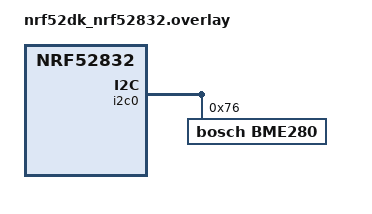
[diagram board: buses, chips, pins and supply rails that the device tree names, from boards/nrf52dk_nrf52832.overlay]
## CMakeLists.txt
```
# SPDX-License-Identifier: Apache-2.0

cmake_minimum_required(VERSION 3.20)
find_package(Zephyr REQUIRED HINTS $ENV{ZEPHYR_BASE})
project(nrf52_dk_eo)

FILE(GLOB app_sources src/*.c)

target_sources(app PRIVATE ${app_sources})
```

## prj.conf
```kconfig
CONFIG_BT=y
CONFIG_BT_PERIPHERAL=y
CONFIG_BT_ZEPHYR_NUS=y
CONFIG_BT_DEVICE_NAME="EmbedOps sensor"
CONFIG_BT_DEVICE_APPEARANCE=1344


CONFIG_I2C=y
CONFIG_SENSOR=y
CONFIG_BME280=y
```

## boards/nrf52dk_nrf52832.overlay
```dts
&pinctrl {
        i2c0_default: i2c0_default {
                group1 {
                        psels = <NRF_PSEL(TWIM_SDA, 0, 31)>,
                                <NRF_PSEL(TWIM_SCL, 0, 29)>;
                };
        };

        i2c0_sleep: i2c0_sleep {
                group1 {
                        psels = <NRF_PSEL(TWIM_SDA, 0, 31)>,
                                <NRF_PSEL(TWIM_SCL, 0, 29)>;
                        low-power-enable;
                };
        };
};

&i2c0 {
    status = "okay";
    bme280@76 {
        compatible = "bosch,bme280";
        reg = <0x76>;
    };
};
```

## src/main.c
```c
#include "ble.h"
#include "bme280.h"

#include <stdbool.h>
#include <stdio.h>

#include <zephyr/drivers/gpio.h>
#include <zephyr/kernel.h>

#include <zephyr/logging/log.h>
LOG_MODULE_REGISTER(nrf52dk_eo);

#define SLEEP_TIME_MS 1000

#define LED0_NODE DT_ALIAS(led0)

static const struct gpio_dt_spec led = GPIO_DT_SPEC_GET(LED0_NODE, gpios);

static int led_initialize(void) {
  int ret;

  if (!gpio_is_ready_dt(&led)) {
    return -1;
  }

  ret = gpio_pin_configure_dt(&led, GPIO_OUTPUT_ACTIVE);
  if (ret != 0) {
    return -1;
  }

  return 0;
}

static void led_toggle(void) {
  int ret;

  ret = gpio_pin_toggle_dt(&led);
  if (ret < 0) {
    LOG_ERR("failed to toggle led %d", ret);
  }
}

static void led_status(int err) {
  int i;

  if (err) {
    for (i = 0; i < 3; ++i) { // three blinks for an err
      led_toggle();
      k_msleep(SLEEP_TIME_MS);
    }
  }
}

int main(void) {
  int ret;

  ret = led_initialize();
  if (ret < 0) {
    LOG_ERR("failed to initialize led");
    return 0;
  }

  ret = bme280_initialize_device();
  if (ret < 0) {
    LOG_ERR("bme280 failed to initialize");
    return 0;
  }

  ret = ble_initialize();
  if (ret < 0) {
    LOG_ERR("ble failed to initialize");
    return 0;
  }

  while (1) {
    led_status(ret);
    ret = ble_update_indication();
    k_msleep(SLEEP_TIME_MS);
  }

  return 0;
}
```

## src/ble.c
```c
#include "ble.h"
#include "bme280.h"

#include <zephyr/bluetooth/bluetooth.h>
#include <zephyr/bluetooth/conn.h>
#include <zephyr/bluetooth/gatt.h>
#include <zephyr/bluetooth/hci.h>
#include <zephyr/bluetooth/services/nus.h>
#include <zephyr/bluetooth/uuid.h>

#include <zephyr/logging/log.h>
LOG_MODULE_REGISTER(nrf52dk_eo_ble);

#define DEVICE_NAME CONFIG_BT_DEVICE_NAME
#define DEVICE_NAME_LEN (sizeof(DEVICE_NAME) - 1)

// BLE service e177af9e-e1f0-4f65-8206-29507e994416
#define BT_UUID_CUSTOM_SERVICE_VAL                                             \
  BT_UUID_128_ENCODE(0xe177af9e, 0xe1f0, 0x4f65, 0x8206, 0x29507e994416)

static struct bt_uuid_128 service_uuid =
    BT_UUID_INIT_128(BT_UUID_CUSTOM_SERVICE_VAL);

// BLE characteristic e177af9e-e1f0-4f65-8206-29507e994417
static struct bt_uuid_128 characteristic_uuid = BT_UUID_INIT_128(
    BT_UUID_128_ENCODE(0xe177af9e, 0xe1f0, 0x4f65, 0x8206, 0x29507e994417));

// temperature, pressure, humidity
static uint8_t sensor_values[6] = {0, 0, 0, 0, 0, 0};
static uint8_t indicate;
static uint8_t indicating;
static struct bt_gatt_indicate_params indicate_params;

static void ccc_cfg_changed(const struct bt_gatt_attr *attr, uint16_t value) {
  ARG_UNUSED(attr);

  indicate = 0U;
  switch (value) {
  case BT_GATT_CCC_NOTIFY:
    LOG_DBG("CMD RX/TX CCCD subscribed");
    break;
  case BT_GATT_CCC_INDICATE:
    indicate = 1U;
    break;
  case 0:
    LOG_DBG("CMD RX/TX CCCD unsubscribed");
    break;

  default:
    LOG_DBG("failed CCCD has invalid value");
  }
}

static bool sensor_values_updated(void) {
  uint8_t current_buffer[6];
  int16_t temp;
  uint16_t humid, press;

  temp = bme280_get_temperature();
  press = bme280_get_pressure();
  humid = bme280_get_humidity();

  current_buffer[0] = temp & 0xFF;
  current_buffer[1] = temp >> 8;
  current_buffer[2] = press & 0xFF;
  current_buffer[3] = press >> 8;
  current_buffer[4] = humid & 0xFF;
  current_buffer[5] = humid >> 8;

  if (memcmp(sensor_values, current_buffer, sizeof(current_buffer)) != 0) {
    memcpy(sensor_values, current_buffer, sizeof(current_buffer));
    return true;
  }

  return false;
}

static ssize_t read_characteristic(struct bt_conn *conn,
                                   const struct bt_gatt_attr *attr, void *buf,
                                   uint16_t len, uint16_t offset) {
  if (sensor_values_updated()) {
    // we should do something ?
  }
  const char *value = attr->user_data;

  return bt_gatt_attr_read(conn, attr, buf, len, offset, value,
                           sizeof(sensor_values));
}

// primary service def.
BT_GATT_SERVICE_DEFINE(
    service, BT_GATT_PRIMARY_SERVICE(&service_uuid),
    BT_GATT_CHARACTERISTIC(&characteristic_uuid.uuid,
                           BT_GATT_CHRC_READ | BT_GATT_CHRC_INDICATE,
                           BT_GATT_PERM_READ, read_characteristic, NULL,
                           sensor_values),
    BT_GATT_CCC(ccc_cfg_changed, BT_GATT_PERM_READ | BT_GATT_PERM_WRITE), );

// advertising data
static const struct bt_data advert_data[] = {
    BT_DATA_BYTES(BT_DATA_FLAGS, (BT_LE_AD_GENERAL | BT_LE_AD_NO_BREDR)),
    BT_DATA_BYTES(BT_DATA_UUID128_ALL, BT_UUID_CUSTOM_SERVICE_VAL),
};

static const struct bt_data scan_data[] = {
    BT_DATA(BT_DATA_NAME_COMPLETE, CONFIG_BT_DEVICE_NAME,
            sizeof(CONFIG_BT_DEVICE_NAME) - 1),
};

static void bt_ready(int err) {
  int ret;

  if (err) {
    LOG_ERR("ble not initialized %d", err);
    return;
  }

  LOG_INF("ble initialized");
  ret = bt_le_adv_start(BT_LE_ADV_CONN_FAST_1, advert_data,
                        ARRAY_SIZE(advert_data), scan_data,
                        ARRAY_SIZE(scan_data));
  if (ret != 0) {
    LOG_ERR("advertising failed to start %d", ret);
    return;
  }

  LOG_INF("advertising started");
}

static void indicate_cb(struct bt_conn *conn,
                        struct bt_gatt_indicate_params *params, uint8_t err) {
  LOG_INF("indication %s", err != 0U ? "failed" : "success");
}

static void indicate_destroy(struct bt_gatt_indicate_params *params) {
  LOG_INF("indication complete");
  indicating = 0U;
}

static void connected(struct bt_conn *conn, uint8_t err) {
  char addr[BT_ADDR_LE_STR_LEN];

  bt_addr_le_to_str(bt_conn_get_dst(conn), addr, sizeof(addr));
  if (err) {
    LOG_ERR("failed to connect to %s, err 0x%02x %s", addr, err,
            bt_hci_err_to_str(err));
    return;
  }

  LOG_INF("connected to %s", addr);
}

static void disconnected(struct bt_conn *conn, uint8_t reason) {
  char addr[BT_ADDR_LE_STR_LEN];

  bt_addr_le_to_str(bt_conn_get_dst(conn), addr, sizeof(addr));

  LOG_INF("disconnected from %s, reason 0x%02x %s", addr, reason,
          bt_hci_err_to_str(reason));
}

BT_CONN_CB_DEFINE(conn_callbacks) = {
    .connected = connected,
    .disconnected = disconnected,
};

static void nus_notif_enabled(bool enabled, void *ctx) {
  ARG_UNUSED(ctx);

  LOG_INF("nus notification - %s", (enabled ? "enabled" : "disabled"));
}

static void nus_received(struct bt_conn *conn, const void *data, uint16_t len,
                         void *ctx) {
  ARG_UNUSED(ctx);

  int ret;

  LOG_INF("nus received - Len: %d, Message: %s", len, (char *)data);

  ret = bt_nus_send(conn, (char *)data, len);
  if (ret) {
    LOG_ERR("failed to send NUS %d", ret);
  }
}

struct bt_nus_cb nus_listener = {
    .notif_enabled = nus_notif_enabled,
    .received = nus_received,
};

int ble_update_indication(void) {
  int ret;

  ret = 0;
  if (sensor_values_updated() && indicate == 0) {
    indicate_params.attr = &service.attrs[2];
    indicate_params.func = indicate_cb;
    indicate_params.destroy = indicate_destroy;
    indicate_params.data = sensor_values;
    indicate_params.len = sizeof(sensor_values);

    ret = bt_gatt_indicate(NULL, &indicate_params);
    if (ret != 0) {
      LOG_ERR("indicate failed %d", ret);
    }
  }
  return ret;
}

int ble_initialize(void) {
  int ret;

  ret = bt_nus_cb_register(&nus_listener, NULL);
  if (ret) {
    LOG_ERR("failed to register NUS callback: %d", ret);
    return -1;
  }

  ret = bt_enable(bt_ready);
  if (ret != 0) {
    LOG_ERR("ble initialization failure %d", ret);
    return -1;
  }

  return 0;
}
```

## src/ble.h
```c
#ifndef _BLE_H_
#define _BLE_H_

int ble_initialize(void);
int ble_update_indication(void);

#endif
```

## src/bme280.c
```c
#include "bme280.h"

#include <zephyr/device.h>
#include <zephyr/devicetree.h>
#include <zephyr/drivers/sensor.h>
#include <zephyr/sys/printk.h>
#include <zephyr/types.h>

#include <zephyr/logging/log.h>
LOG_MODULE_REGISTER(nrf52dk_eo_bme280);

const struct device *bme280_dev = DEVICE_DT_GET_ANY(bosch_bme280);

int bme280_initialize_device(void) {
  if (!bme280_dev) {
    LOG_ERR("device node not found.");
    return -1;
  }

  if (!device_is_ready(bme280_dev)) {
    LOG_ERR("device is not ready");
    return -1;
  }

  LOG_INF("device is initialized");
  return 0;
}

int16_t bme280_get_temperature(void) {
  struct sensor_value temp;

  if (!sensor_channel_get(bme280_dev, SENSOR_CHAN_AMBIENT_TEMP, &temp)) {
    LOG_ERR("failed to get sensor temperature value");
    return -1;
  }
  return (int16_t)(temp.val1 * 100 + temp.val2 / 10000);
}

uint16_t bme280_get_pressure(void) {
  uint32_t pressure_off;
  struct sensor_value pressure;

  if (!sensor_channel_get(bme280_dev, SENSOR_CHAN_PRESS, &pressure)) {
    LOG_ERR("failed to get sensor pressure value");
    return -1;
  }

  pressure_off = (uint32_t)(pressure.val1 * 1000 + pressure.val2 / 10000);
  return (uint16_t)(pressure_off - 50000);
}

uint16_t bme280_get_humidity() {
  struct sensor_value humid;

  if (!sensor_channel_get(bme280_dev, SENSOR_CHAN_HUMIDITY, &humid)) {
    LOG_ERR("failed to get sensor humidity value");
    return -1;
  }

  return (uint16_t)(humid.val1 * 100 + humid.val2 / 10000);
}
```

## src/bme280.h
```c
#ifndef _BME280_H_
#define _BME280_H_

#include <stdint.h>

int bme280_initialize_device(void);
int16_t bme280_get_temperature(void);
uint16_t bme280_get_pressure(void);
uint16_t bme280_get_humidity(void);

#endif
```

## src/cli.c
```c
#include <zephyr/shell/shell.h>
#include "util.h"

#define UPTIME_STRING_LEN 64

static int cmd_hil_ping(const struct shell *sh, size_t argc,
                         char **argv)
{
    ARG_UNUSED(argc);
    ARG_UNUSED(argv);

    shell_print(sh, "pong");
    return 0;
}

static int cmd_hil_uptime(const struct shell *sh, size_t argc,
                           char **argv)
{
    char uptime_str[UPTIME_STRING_LEN];

    int64_t uptime = k_uptime_get();
    uptime_to_string(uptime, uptime_str);

    shell_print(sh, "%s", uptime_str);
    return 0;
}

static int cmd_hil_uptime_ms(const struct shell *sh, size_t argc,
                           char **argv)
{
    int64_t uptime = k_uptime_get();

    shell_print(sh, "%lld\n", uptime);
    return 0;
}

/* Creating subcommands (level 1 command) array for command "hil". */
SHELL_STATIC_SUBCMD_SET_CREATE(sub_hil,
        SHELL_CMD(ping,   NULL, "Ping command.", cmd_hil_ping),
        SHELL_CMD(uptime,   NULL, "Uptime command.", cmd_hil_uptime),
        SHELL_CMD(uptime-ms,   NULL, "Uptime MS command.", cmd_hil_uptime_ms),
        SHELL_SUBCMD_SET_END
);

/* Creating root (level 0) command "hil" without a handler */
SHELL_CMD_REGISTER(hil, &sub_hil, "HIL commands", NULL);
```

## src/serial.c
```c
/** ble.c - BLE routines
 * Copyright 2023 Dojo Five
 **/

#include <inttypes.h>
#include <zephyr/types.h>
#include <stddef.h>
#include <string.h>
#include <errno.h>
#include <zephyr/device.h>
#include <zephyr/drivers/uart.h>
#include <zephyr/sys/ring_buffer.h>
#include <zephyr/kernel.h>
#include <zephyr/logging/log.h>

#include "ble.h"

#define LOG_MODULE_NAME EO_HIL_SERIAL
LOG_MODULE_REGISTER(LOG_MODULE_NAME);

#define RING_BUF_SIZE 1024
uint8_t ring_buffer[RING_BUF_SIZE];

struct ring_buf ringbuf;

/* change this to any other UART peripheral if desired */
#define UART_DEVICE_NODE DT_CHOSEN(zephyr_shell_uart)

#define MSG_SIZE 32

/* queue to store up to 10 messages (aligned to 4-byte boundary) */
K_MSGQ_DEFINE(uart_msgq, MSG_SIZE, 10, 4);

static const struct device *uart_dev = DEVICE_DT_GET(UART_DEVICE_NODE);

/* receive buffer used in UART ISR callback */
static char rx_buf[1024];
static int rx_buf_pos;
/*
 * Read characters from UART until line end is detected. Afterwards push the
 * data to the message queue.
 */
void serial_cb(const struct device *dev, void *user_data)
{
    uint8_t data[256];
    uint32_t bytes_read;

    if (!uart_irq_update(uart_dev)) {
        return;
    }

    while (uart_irq_rx_ready(uart_dev)) {

        bytes_read = uart_fifo_read(uart_dev, data, 256);

        for(uint32_t i = 0; i < bytes_read; i++)
        {
            uint8_t c = data[i];

            if ((c == '\n' || c == '\r') && rx_buf_pos > 0) {
            /* terminate string */
            rx_buf[rx_buf_pos] = '\0';

            LOG_INF("%s\n", rx_buf);

            /* if queue is full, message is silently dropped */
            k_msgq_put(&uart_msgq, &rx_buf, K_NO_WAIT);

            /* reset the buffer (it was copied to the msgq) */
            rx_buf_pos = 0;
            } else if (rx_buf_pos < (sizeof(rx_buf) - 1)) {
                rx_buf[rx_buf_pos++] = c;
            }
            /* else: characters beyond buffer size are dropped */
        }
    }
}

/*
 * Print a null-terminated string character by character to the UART interface
 */
void print_uart(char *buf)
{
    int msg_len = strlen(buf);

    for (int i = 0; i < msg_len; i++) {
        uart_poll_out(uart_dev, buf[i]);
    }
}

void serial_echo_thread(void)
{
    char tx_buf[MSG_SIZE];

    if (!device_is_ready(uart_dev)) {
        LOG_ERR("UART device not found!");
        return;
    }

    /* configure interrupt and callback to receive data */
    uart_irq_callback_user_data_set(uart_dev, serial_cb, NULL);
    uart_irq_rx_enable(uart_dev);

    /* indefinitely wait for input from the user */
    while (k_msgq_get(&uart_msgq, &tx_buf, K_FOREVER) == 0) {

        if(strcmp("mac_address", tx_buf) == 0)
        {
            LOG_INF("Received MAC address command!");

            uint8_t addr[BLE_ADDR_LEN];
            ble_get_address(addr);

            char device_id_string[30] = {0};

            sprintf(device_id_string, "%02X:%02X:%02X:%02X:%02X:%02X\r\n", addr[5], addr[4], addr[3], addr[2], addr[1], addr[0]);
            print_uart(device_id_string);
        }
        else
        {
            print_uart(tx_buf);
            print_uart("\r\n");
        }
    }
}
```

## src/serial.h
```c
#ifndef SERIAL_H
#define SERIAL_H


/**
 * @brief Implementation for a thread that constantly for received UART data and
 * echoes it back.
 */
void serial_echo_thread(void);


#endif
```

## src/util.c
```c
#include <stdio.h>
#include "util.h"

#define MS_PER_SEC   1000
#define SEC_PER_MIN  60
#define MIN_PER_HOUR 60
#define HOUR_PER_DAY 24

#define MS_PER_DAY  (HOUR_PER_DAY * MIN_PER_HOUR * SEC_PER_MIN * MS_PER_SEC)
#define MS_PER_HOUR (MIN_PER_HOUR * SEC_PER_MIN * MS_PER_SEC)
#define MS_PER_MIN  (SEC_PER_MIN * MS_PER_SEC)

void uptime_to_string(int64_t uptime, char *out)
{
    int32_t days = uptime / MS_PER_DAY;
    int32_t hours = (uptime - (days * MS_PER_DAY)) / MS_PER_HOUR;
    int32_t mins  = (uptime - (days * MS_PER_DAY) - (hours * MS_PER_HOUR)) / MS_PER_MIN;
    int32_t secs  = (uptime - (days * MS_PER_DAY) - (hours * MS_PER_HOUR) - (mins * MS_PER_MIN)) / MS_PER_SEC;

    sprintf(out, "%d days, %d hours, %d minutes, %d seconds", days, hours, mins, secs);
}

/**
 * [  0 >= RSSI > -55] -> Great
 * [-55 >= RSSI > -75] -> Good
 * [-75 >= RSSI > -90] -> Poor
 * [-90 >= RSSI      ] -> Unusable
 */
#define RSSI_GREAT_THRESHOLD    -55
#define RSSI_GOOD_THRESHOLD     -75
#define RSSI_POOR_THRESHOLD     -90

util_ble_signal_quality_t util_get_ble_signal_quality(int16_t rssi)
{
    util_ble_signal_quality_t signal_quality = UTIL_BLE_SIGNAL_QUALITY_UNKNOWN;

    if (rssi >= 0)
    {
        // RSSI should always be negative
        signal_quality = UTIL_BLE_SIGNAL_QUALITY_UNKNOWN;
    }
    else if(rssi <= RSSI_POOR_THRESHOLD)
    {
        signal_quality = UTIL_BLE_SIGNAL_QUALITY_UNUSABLE;
    }
    else if (rssi <= RSSI_GOOD_THRESHOLD)
    {
        signal_quality = UTIL_BLE_SIGNAL_QUALITY_POOR;
    }
    else if (rssi <=  RSSI_GREAT_THRESHOLD)
    {
        signal_quality = UTIL_BLE_SIGNAL_QUALITY_GOOD;
    }
    else if (rssi > RSSI_GREAT_THRESHOLD)
    {
        signal_quality = UTIL_BLE_SIGNAL_QUALITY_GREAT;
    }

    return signal_quality;
}
```

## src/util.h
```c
#ifndef UTIL_H
#define UTIL_H

#include <stdint.h>

/**
 * @brief Enumeration for top-level BLE signal quality indicators
 */
typedef enum
{
    UTIL_BLE_SIGNAL_QUALITY_UNKNOWN,
    UTIL_BLE_SIGNAL_QUALITY_UNUSABLE,
    UTIL_BLE_SIGNAL_QUALITY_POOR,
    UTIL_BLE_SIGNAL_QUALITY_GOOD,
    UTIL_BLE_SIGNAL_QUALITY_GREAT,
} util_ble_signal_quality_t;

/**
 * @brief Convert an uptime from raw milliseconds to a string, with
 * the format "X days, X hours, X minutes, X seconds". It is the caller's
 * responsibility to ensure that the output parameter has adequate memory allocated.
 *
 * @param uptime Uptime, in milliseconds
 * @param out    Output parameter for string output
 */
void uptime_to_string(int64_t uptime, char *out);

/**
 * @brief Calculates the BLE signal quality that can be used for a UI element.
 *
 * @param rssi BLE received signal strength indicator (RSSI)
 * @return ble_signal_quality_t that correlates with passed in RSSI
 */
util_ble_signal_quality_t util_get_ble_signal_quality(int16_t rssi);

#endif
```
